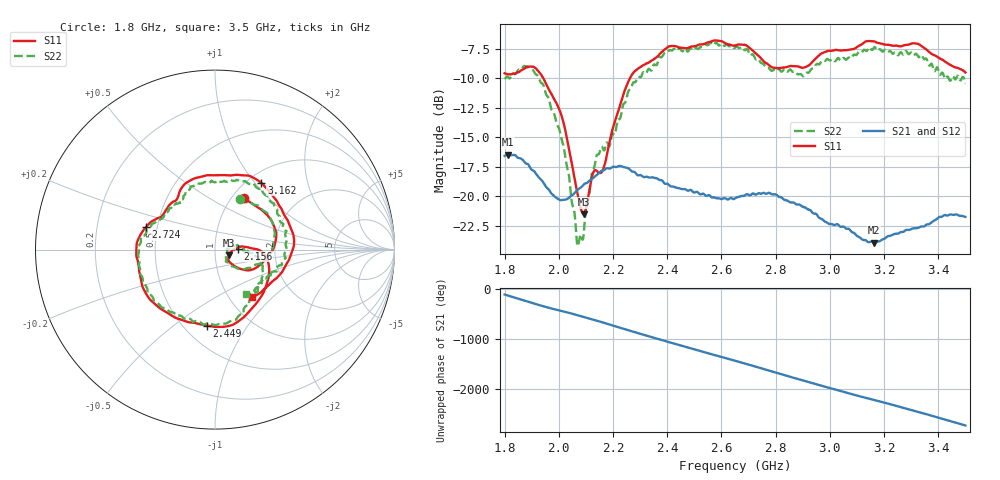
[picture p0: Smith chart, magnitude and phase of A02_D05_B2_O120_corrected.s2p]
! Created with skrf 1.9.0 (http://scikit-rf.org).
# Hz S RI R 50.0
!freq ReS11 ImS11 ReS21 ImS21 ReS12 ImS12 ReS22 ImS22
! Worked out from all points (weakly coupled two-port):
!   1601 points, 1.8 GHz to 3.5 GHz, reference 50 ohm
!   highest |S21| = -16.48 dB at 1.812 GHz (marker M1); lowest = -23.9 dB at 3.162 GHz (marker M2)
!   lowest |S11| = -21.6 dB at 2.091 GHz (marker M3), VSWR 1.18, Z = 58.3 - j3.67 ohm
!   |S11| at or under -10 dB: 1.943 GHz to 2.263 GHz (319.8 MHz wide, 15.2 % of centre)
!   |S22| runs from -24.2 to -7.0 dB; largest |S21 - S12| = 0.0028
!   S11 on the Smith chart (normalised r, x): 1.8 GHz: 1.13, +0.74; 2.156 GHz: 1.29, +0.01; 2.449 GHz: 0.64, -0.66; 2.724 GHz: 0.43, +0.13; 3.162 GHz: 1.15, +1.08; 3.5 GHz: 1.27, -0.75
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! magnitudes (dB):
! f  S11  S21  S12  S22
! 1.8 GHz  -9.6  -16.6  -16.6  -10.1
! 1.812 GHz  -9.7  -16.5  -16.5  -9.9
! 1.881 GHz  -9.1  -17.3  -17.3  -9.0
! 1.942 GHz  -10.0  -18.8  -18.8  -10.6
! 2.013 GHz  -13.4  -20.3  -20.3  -15.4
! 2.068 GHz  -19.7  -19.5  -19.5  -24.1
! 2.084 GHz  -21.3  -19.2  -19.2  -23.4
! 2.091 GHz  -21.6  -19.0  -19.1  -23.4
! 2.127 GHz  -18.0  -18.5  -18.5  -17.8
! 2.156 GHz  -18.0  -17.9  -17.9  -15.9
! 2.19 GHz  -15.1  -17.7  -17.7  -15.6
! 2.26 GHz  -10.1  -17.7  -17.7  -11.0
! 2.367 GHz  -8.1  -18.6  -18.5  -8.5
! 2.449 GHz  -7.4  -19.4  -19.4  -7.5
! 2.65 GHz  -7.2  -20.2  -20.2  -7.4
! 2.724 GHz  -7.9  -19.9  -19.8  -8.3
! 2.796 GHz  -9.1  -19.8  -19.8  -9.3
! 2.934 GHz  -8.7  -21.4  -21.3  -9.2
! 3.162 GHz  -6.9  -23.9  -23.9  -7.4
! 3.217 GHz  -7.2  -23.4  -23.4  -7.7
! 3.325 GHz  -7.1  -22.7  -22.7  -8.1
! 3.5 GHz  -9.5  -21.8  -21.8  -10.5
